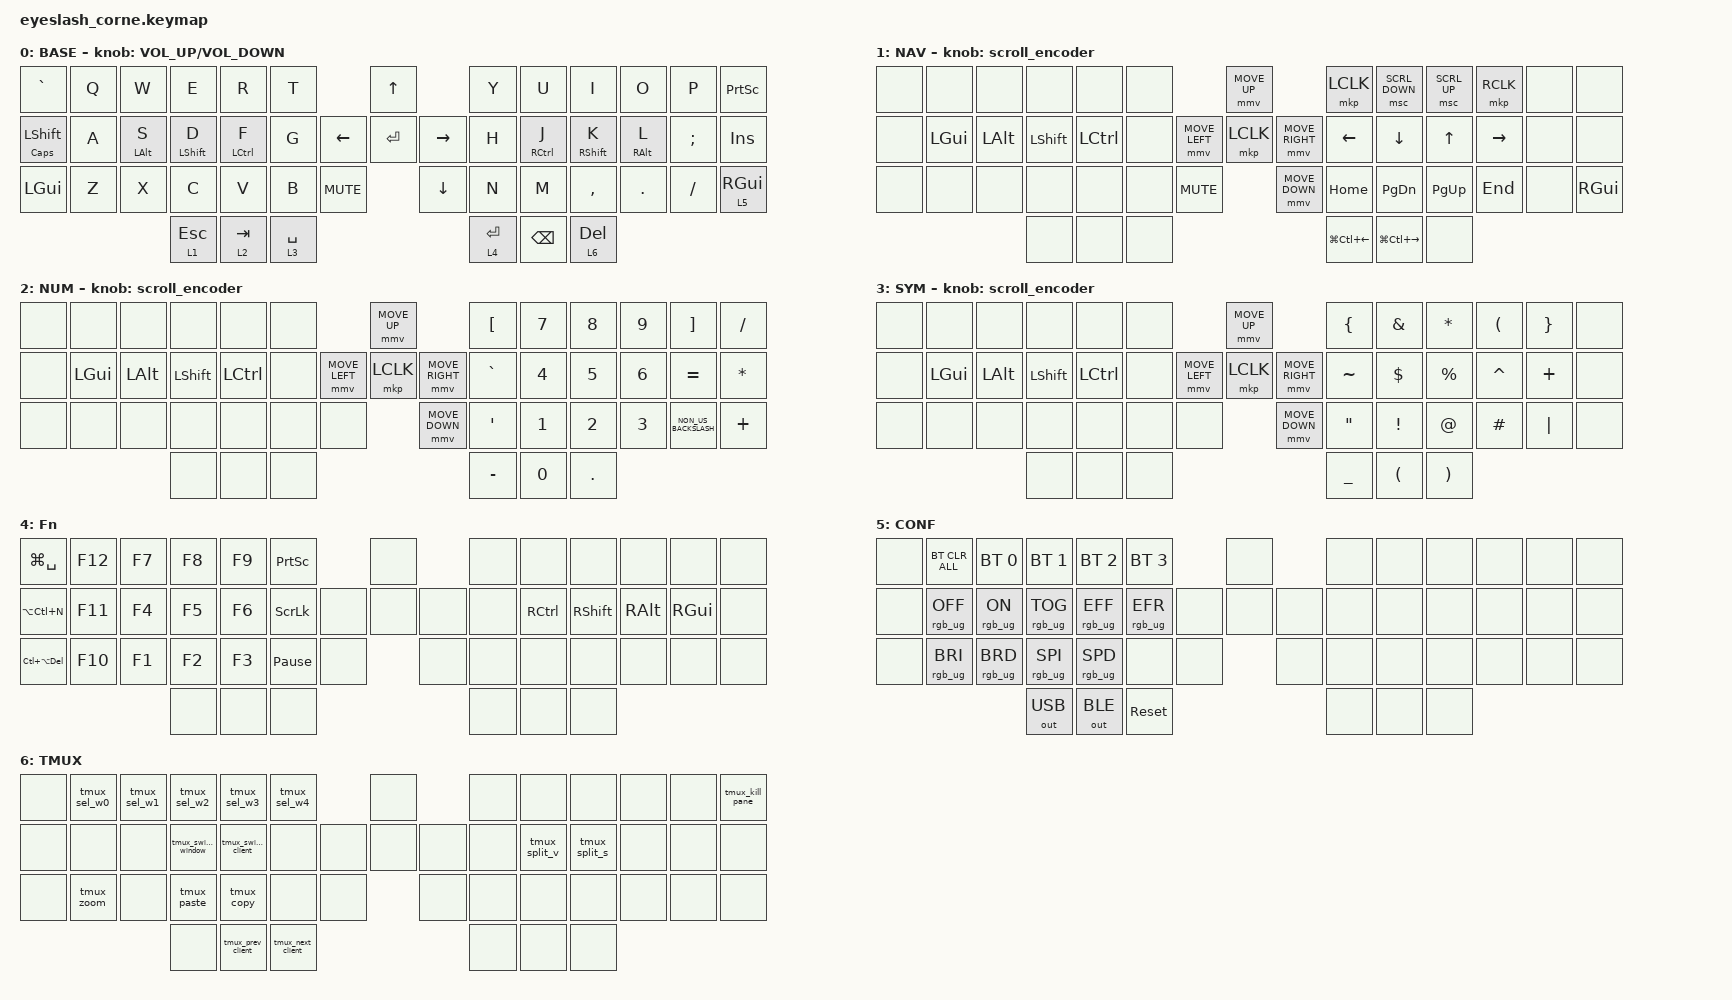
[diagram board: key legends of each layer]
#define ZMK_POINTING_DEFAULT_MOVE_VAL 1200  // 600
#define ZMK_POINTING_DEFAULT_SCRL_VAL 25   // 10

#include <input/processors.dtsi>
#include <zephyr/dt-bindings/input/input-event-codes.h>
#include <behaviors.dtsi>
#include <dt-bindings/zmk/bt.h>
#include <dt-bindings/zmk/keys.h>
#include <dt-bindings/zmk/outputs.h>
#include <dt-bindings/zmk/pointing.h>
#include <dt-bindings/zmk/rgb.h>

&mmv_input_listener { input-processors = <&zip_xy_scaler 2 1>; };

&msc_input_listener { input-processors = <&zip_scroll_scaler 2 1>; };

&msc {
    acceleration-exponent = <1>;      // 0
    time-to-max-speed-ms = <100>;       // 300
    delay-ms = <0>;                   // 0
};

&mmv {
    time-to-max-speed-ms = <500>;
    acceleration-exponent = <1>;
    trigger-period-ms = <16>;
};

/ {
    behaviors {
        td0: td0 {
            compatible = "zmk,behavior-tap-dance";
            display-name = "Shift/Caps Lock Tap Dance";
            #binding-cells = <0>;
            bindings = <&kp LEFT_SHIFT>, <&kp CAPS>;
        };

        hrml: hrml {
            compatible = "zmk,behavior-hold-tap";
            label = "HRML";
            bindings = <&kp>, <&kp>;

            #binding-cells = <2>;
            flavor = "balanced";
            hold-trigger-on-release;
            tapping-term-ms = <200>;
            quick-tap-ms = <175>;
            require-prior-idle-ms = <150>;
            hold-trigger-key-positions = <7 8 9 10 11 12 22 23 24 25 26 27 36 37 38 39 40 41 45 46 47>;
        };

        hrmr: hrmr {
            compatible = "zmk,behavior-hold-tap";
            label = "HRMR";
            bindings = <&kp>, <&kp>;

            #binding-cells = <2>;
            flavor = "balanced";
            hold-trigger-on-release;
            tapping-term-ms = <200>;
            quick-tap-ms = <175>;
            require-prior-idle-ms = <150>;
            hold-trigger-key-positions = <0 1 2 3 4 5 13 14 15 16 17 18 28 29 30 31 32 33 34 42 43 44>;
        };
    };

    rgb_encoder: rgb_encoder {
        compatible = "zmk,behavior-sensor-rotate";
        #sensor-binding-cells = <0>;
        bindings = <&rgb_ug RGB_BRI>, <&rgb_ug RGB_BRD>;
    };

    scroll_encoder: scroll_encoder {
        compatible = "zmk,behavior-sensor-rotate";
        #sensor-binding-cells = <0>;
        bindings = <&msc SCRL_DOWN>, <&msc SCRL_UP>;

        tap-ms = <100>;
    };

    macros {
        tmux_zoom: tmux_zoom {
            compatible = "zmk,behavior-macro";
            #binding-cells = <0>;
            bindings =
                <&macro_press>,
                <&kp LC(A)>,
                <&macro_release>,
                <&kp LC(A)>,
                <&macro_tap>,
                <&kp Z>;

            label = "TMUX_ZOOM";
        };

        tmux_switch_window: tmux_switch_window {
            compatible = "zmk,behavior-macro";
            #binding-cells = <0>;
            bindings =
                <&macro_press>,
                <&kp LC(A)>,
                <&macro_release>,
                <&kp LC(A)>,
                <&macro_tap>,
                <&kp L>;

            label = "TMUX_SWITCH_WINDOW";
        };

        tmux_switch_client: tmux_switch_client {
            compatible = "zmk,behavior-macro";
            #binding-cells = <0>;
            bindings =
                <&macro_press>,
                <&kp LC(A)>,
                <&macro_release>,
                <&kp LC(A)>,
                <&macro_tap>,
                <&kp LS(L)>;

            label = "TMUX_SWITCH_CLIENT";
        };

        tmux_next_client: tmux_next_client {
            compatible = "zmk,behavior-macro";
            #binding-cells = <0>;
            bindings =
                <&macro_press>,
                <&kp LC(A)>,
                <&macro_release>,
                <&kp LC(A)>,
                <&macro_tap>,
                <&kp RIGHT_PARENTHESIS>;

            label = "TMUX_NEXT_CLIENT";
        };

        tmux_prev_client: tmux_prev_client {
            compatible = "zmk,behavior-macro";
            #binding-cells = <0>;
            bindings =
                <&macro_press>,
                <&kp LC(A)>,
                <&macro_release>,
                <&kp LC(A)>,
                <&macro_tap>,
                <&kp LEFT_PARENTHESIS>;

            label = "TMUX_PREV_CLIENT";
        };

        tmux_copy: tmux_copy {
            compatible = "zmk,behavior-macro";
            #binding-cells = <0>;
            bindings =
                <&macro_press>,
                <&kp LC(A)>,
                <&macro_release>,
                <&kp LC(A)>,
                <&macro_tap>,
                <&kp LEFT_BRACKET>;

            label = "TMUX_COPY";
        };

        tmux_paste: tmux_paste {
            compatible = "zmk,behavior-macro";
            #binding-cells = <0>;
            bindings =
                <&macro_press>,
                <&kp LC(A)>,
                <&macro_release>,
                <&kp LC(A)>,
                <&macro_tap>,
                <&kp RIGHT_BRACKET>;

            label = "TMUX_PASTE";
        };

        tmux_sel_w0: tmux_sel_w0 {
            compatible = "zmk,behavior-macro";
            #binding-cells = <0>;
            bindings =
                <&macro_press>,
                <&kp LC(A)>,
                <&macro_release>,
                <&kp LC(A)>,
                <&macro_tap>,
                <&kp N0>;

            label = "TMUX_SEL_W0";
        };

        tmux_sel_w1: tmux_sel_w1 {
            compatible = "zmk,behavior-macro";
            #binding-cells = <0>;
            bindings =
                <&macro_press>,
                <&kp LC(A)>,
                <&macro_release>,
                <&kp LC(A)>,
                <&macro_tap>,
                <&kp NUMBER_1>;

            label = "TMUX_SEL_W1";
        };

        tmux_sel_w2: tmux_sel_w2 {
            compatible = "zmk,behavior-macro";
            #binding-cells = <0>;
            bindings =
                <&macro_press>,
                <&kp LC(A)>,
                <&macro_release>,
                <&kp LC(A)>,
                <&macro_tap>,
                <&kp NUMBER_2>;

            label = "TMUX_SEL_W2";
        };

        tmux_sel_w3: tmux_sel_w3 {
            compatible = "zmk,behavior-macro";
            #binding-cells = <0>;
            bindings =
                <&macro_press>,
                <&kp LC(A)>,
                <&macro_release>,
                <&kp LC(A)>,
                <&macro_tap>,
                <&kp NUMBER_3>;

            label = "TMUX_SEL_W3";
        };

        tmux_kill_pane: tmux_kill_pane {
            compatible = "zmk,behavior-macro";
            #binding-cells = <0>;
            bindings =
                <&macro_press>,
                <&kp LC(A)>,
                <&macro_release>,
                <&kp LC(A)>,
                <&macro_tap>,
                <&kp X>,
                <&macro_tap>,
                <&kp Y>;

            label = "TMUX_KILL_PANE";
        };

        tmux_sel_w4: tmux_sel_w4 {
            compatible = "zmk,behavior-macro";
            #binding-cells = <0>;
            bindings =
                <&macro_press>,
                <&kp LC(A)>,
                <&macro_release>,
                <&kp LC(A)>,
                <&macro_tap>,
                <&kp NUMBER_4>;

            label = "TMUX_SEL_W4";
        };

        tmux_split_v: tmux_split_v {
            compatible = "zmk,behavior-macro";
            #binding-cells = <0>;
            bindings =
                <&macro_press>,
                <&kp LC(A)>,
                <&macro_release>,
                <&kp LC(A)>,
                <&macro_tap>,
                <&kp PERCENT>;

            label = "TMUX_SPLIT_V";
        };

        tmux_split_s: tmux_split_s {
            compatible = "zmk,behavior-macro";
            #binding-cells = <0>;
            bindings =
                <&macro_press>,
                <&kp LC(A)>,
                <&macro_release>,
                <&kp LC(A)>,
                <&macro_tap>,
                <&kp DOUBLE_QUOTES>;

            label = "TMUX_SPLIT_S";
        };
    };

    combos { compatible = "zmk,combos"; };

    keymap {
        compatible = "zmk,keymap";

        default_layer {
            display-name = "BASE";
            bindings = <
&kp GRAVE              &kp Q  &kp W             &kp E               &kp R          &kp T                                &kp UP_ARROW             &kp Y        &kp U          &kp I                &kp O              &kp P     &kp PRINTSCREEN
&hrml CAPS LEFT_SHIFT  &kp A  &hrml LEFT_ALT S  &hrml LEFT_SHIFT D  &hrml LCTRL F  &kp G                      &kp LEFT  &kp ENTER     &kp RIGHT  &kp H        &hrmr RCTRL J  &hrmr RIGHT_SHIFT K  &hrmr RIGHT_ALT L  &kp SEMI  &kp INSERT
&kp LGUI               &kp Z  &kp X             &kp C               &kp V          &kp B        &kp C_MUTE              &kp DOWN                 &kp N        &kp M          &kp COMMA            &kp DOT            &kp FSLH  &lt 5 RIGHT_GUI
                                                &lt 1 ESC           &lt 2 TAB      &lt 3 SPACE                                                   &lt 4 ENTER  &kp BACKSPACE  &lt 6 DEL
            >;

            sensor-bindings = <&inc_dec_kp C_VOLUME_UP C_VOLUME_DOWN>;
        };

        nav_layer {
            display-name = "NAV";
            bindings = <
&none  &none     &none     &none      &none      &none                                &mmv MOVE_UP                     &mkp LCLK               &msc SCRL_DOWN           &msc SCRL_UP  &mkp RCLK  &none  &none
&none  &kp LGUI  &kp LALT  &kp LSHFT  &kp LCTRL  &none                &mmv MOVE_LEFT  &mkp LCLK       &mmv MOVE_RIGHT  &kp LEFT                &kp DOWN                 &kp UP        &kp RIGHT  &none  &none
&none  &none     &none     &none      &none      &none  &kp C_MUTE                    &mmv MOVE_DOWN                   &kp HOME                &kp PAGE_DOWN            &kp PAGE_UP   &kp END    &none  &kp RIGHT_GUI
                           &none      &none      &none                                                                 &kp LG(LC(LEFT_ARROW))  &kp LG(LC(RIGHT_ARROW))  &none
            >;

            sensor-bindings = <&scroll_encoder>;
        };

        number_layer {
            display-name = "NUM";
            bindings = <
&none  &none         &none     &none      &none      &none                           &mmv MOVE_UP                     &kp LBKT   &kp N7  &kp N8   &kp N9  &kp RBKT              &kp SLASH
&none  &kp LEFT_GUI  &kp LALT  &kp LSHFT  &kp LCTRL  &none           &mmv MOVE_LEFT  &mkp LCLK       &mmv MOVE_RIGHT  &kp GRAVE  &kp N4  &kp N5   &kp N6  &kp EQUAL             &kp ASTERISK
&none  &none         &none     &none      &none      &none  &none                    &mmv MOVE_DOWN                   &kp APOS   &kp N1  &kp N2   &kp N3  &kp NON_US_BACKSLASH  &kp PLUS
                               &none      &none      &none                                                            &kp MINUS  &kp N0  &kp DOT
            >;

            sensor-bindings = <&scroll_encoder>;
        };

        symbol_layer {
            display-name = "SYM";
            bindings = <
&none  &none         &none     &none      &none      &none                           &mmv MOVE_UP                     &kp LEFT_BRACE     &kp AMPERSAND         &kp STAR               &kp LEFT_PARENTHESIS  &kp RIGHT_BRACE  &none
&none  &kp LEFT_GUI  &kp LALT  &kp LSHFT  &kp LCTRL  &none           &mmv MOVE_LEFT  &mkp LCLK       &mmv MOVE_RIGHT  &kp TILDE          &kp DOLLAR            &kp PERCENT            &kp CARET             &kp PLUS         &none
&none  &none         &none     &none      &none      &none  &none                    &mmv MOVE_DOWN                   &kp DOUBLE_QUOTES  &kp EXCLAMATION       &kp AT_SIGN            &kp HASH              &kp PIPE         &none
                               &none      &none      &none                                                            &kp UNDERSCORE     &kp LEFT_PARENTHESIS  &kp RIGHT_PARENTHESIS
            >;

            sensor-bindings = <&scroll_encoder>;
        };

        fn_layer {
            bindings = <
&kp LG(SPACE)    &kp F12  &kp F7  &kp F8  &kp F9  &kp PSCRN                        &none         &none  &none      &none      &none     &none     &none
&kp LA(LC(N))    &kp F11  &kp F4  &kp F5  &kp F6  &kp SCROLLLOCK            &none  &none  &none  &none  &kp RCTRL  &kp RSHFT  &kp RALT  &kp RGUI  &none
&kp LC(LA(DEL))  &kp F10  &kp F1  &kp F2  &kp F3  &kp PAUSE_BREAK  &none           &none         &none  &none      &none      &none     &none     &none
                                  &none   &none   &none                                          &none  &none      &none
            >;

            label = "Fn";
        };

        conf_layer {
            bindings = <
&none  &bt BT_CLR_ALL   &bt BT_SEL 0     &bt BT_SEL 1     &bt BT_SEL 2     &bt BT_SEL 3                     &none         &none  &none  &none  &none  &none  &none
&none  &rgb_ug RGB_OFF  &rgb_ug RGB_ON   &rgb_ug RGB_TOG  &rgb_ug RGB_EFF  &rgb_ug RGB_EFR           &none  &none  &none  &none  &none  &none  &none  &none  &none
&none  &rgb_ug RGB_BRI  &rgb_ug RGB_BRD  &rgb_ug RGB_SPI  &rgb_ug RGB_SPD  &none            &none           &none         &none  &none  &none  &none  &none  &none
                                         &out OUT_USB     &out OUT_BLE     &sys_reset                                     &none  &none  &none
            >;

            label = "CONF";
        };

        tmux {
            bindings = <
&none  &tmux_sel_w0  &tmux_sel_w1  &tmux_sel_w2         &tmux_sel_w3         &tmux_sel_w4                       &none         &none  &none          &none          &none  &none  &tmux_kill_pane
&none  &none         &none         &tmux_switch_window  &tmux_switch_client  &none                       &none  &none  &none  &none  &tmux_split_v  &tmux_split_s  &none  &none  &none
&none  &tmux_zoom    &none         &tmux_paste          &tmux_copy           &none              &none           &none         &none  &none          &none          &none  &none  &none
                                   &none                &tmux_prev_client    &tmux_next_client                                &none  &none          &none
            >;

            label = "TMUX";
        };
    };
};
